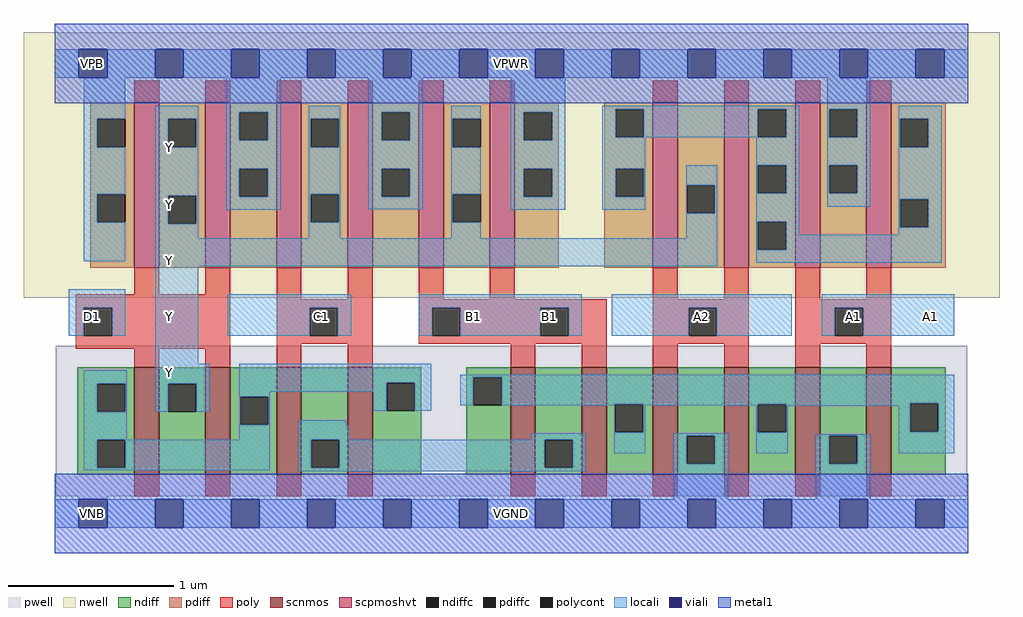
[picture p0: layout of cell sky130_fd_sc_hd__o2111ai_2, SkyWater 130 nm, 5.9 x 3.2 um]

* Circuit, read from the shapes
.subckt sky130_fd_sc_hd__o2111ai_2 A1 A2 B1 C1 D1 VGND VNB VPB VPWR Y
XM1 Y D1 n1 VNB sky130_fd_pr__nfet_01v8 w=0.65 l=0.15 m=2
XM2 n2 C1 n1 VNB sky130_fd_pr__nfet_01v8 w=0.65 l=0.15 m=2
XM3 n2 B1 n3 VNB sky130_fd_pr__nfet_01v8 w=0.65 l=0.15 m=2
XM4 VGND A2 n3 VNB sky130_fd_pr__nfet_01v8 w=0.65 l=0.15 m=2
XM5 VGND A1 n3 VNB sky130_fd_pr__nfet_01v8 w=0.65 l=0.15 m=2
XM6 Y D1 VPWR VPB sky130_fd_pr__pfet_01v8_hvt w=1 l=0.15 m=2
XM7 Y C1 VPWR VPB sky130_fd_pr__pfet_01v8_hvt w=1 l=0.15 m=2
XM8 Y B1 VPWR VPB sky130_fd_pr__pfet_01v8_hvt w=1 l=0.15 m=2
XM9 Y A2 n4 VPB sky130_fd_pr__pfet_01v8_hvt w=1 l=0.15 m=2
XM10 VPWR A1 n4 VPB sky130_fd_pr__pfet_01v8_hvt w=1 l=0.15 m=2
.ends

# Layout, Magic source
magic
tech sky130B
magscale 1 2
<< nwell >>
rect -38 261 1142 582
<< pwell >>
rect 1 21 1103 203
rect 29 -17 63 21
<< scnmos >>
rect 96 47 126 177
rect 182 47 212 177
rect 268 47 298 177
rect 354 47 384 177
rect 551 47 581 177
rect 637 47 667 177
rect 723 47 753 177
rect 809 47 839 177
rect 895 47 925 177
rect 981 47 1011 177
<< scpmoshvt >>
rect 96 297 126 497
rect 182 297 212 497
rect 268 297 298 497
rect 354 297 384 497
rect 440 297 470 497
rect 526 297 556 497
rect 723 297 753 497
rect 809 297 839 497
rect 895 297 925 497
rect 981 297 1011 497
<< ndiff >>
rect 27 157 96 177
rect 27 123 51 157
rect 85 123 96 157
rect 27 89 96 123
rect 27 55 51 89
rect 85 55 96 89
rect 27 47 96 55
rect 126 157 182 177
rect 126 123 137 157
rect 171 123 182 157
rect 126 47 182 123
rect 212 141 268 177
rect 212 107 224 141
rect 258 107 268 141
rect 212 47 268 107
rect 298 89 354 177
rect 298 55 310 89
rect 344 55 354 89
rect 298 47 354 55
rect 384 158 443 177
rect 384 124 401 158
rect 435 124 443 158
rect 384 47 443 124
rect 497 165 551 177
rect 497 131 506 165
rect 540 131 551 165
rect 497 47 551 131
rect 581 89 637 177
rect 581 55 592 89
rect 626 55 637 89
rect 581 47 637 55
rect 667 132 723 177
rect 667 98 677 132
rect 711 98 723 132
rect 667 47 723 98
rect 753 94 809 177
rect 753 60 764 94
rect 798 60 809 94
rect 753 47 809 60
rect 839 132 895 177
rect 839 98 850 132
rect 884 98 895 132
rect 839 47 895 98
rect 925 94 981 177
rect 925 60 936 94
rect 970 60 981 94
rect 925 47 981 60
rect 1011 133 1077 177
rect 1011 99 1034 133
rect 1068 99 1077 133
rect 1011 47 1077 99
<< pdiff >>
rect 43 477 96 497
rect 43 443 51 477
rect 85 443 96 477
rect 43 386 96 443
rect 43 352 51 386
rect 85 352 96 386
rect 43 297 96 352
rect 126 477 182 497
rect 126 443 137 477
rect 171 443 182 477
rect 126 384 182 443
rect 126 350 137 384
rect 171 350 182 384
rect 126 297 182 350
rect 212 485 268 497
rect 212 451 223 485
rect 257 451 268 485
rect 212 417 268 451
rect 212 383 223 417
rect 257 383 268 417
rect 212 297 268 383
rect 298 477 354 497
rect 298 443 309 477
rect 343 443 354 477
rect 298 386 354 443
rect 298 352 309 386
rect 343 352 354 386
rect 298 297 354 352
rect 384 485 440 497
rect 384 451 395 485
rect 429 451 440 485
rect 384 417 440 451
rect 384 383 395 417
rect 429 383 440 417
rect 384 297 440 383
rect 470 477 526 497
rect 470 443 481 477
rect 515 443 526 477
rect 470 386 526 443
rect 470 352 481 386
rect 515 352 526 386
rect 470 297 526 352
rect 556 485 609 497
rect 556 451 567 485
rect 601 451 609 485
rect 556 417 609 451
rect 556 383 567 417
rect 601 383 609 417
rect 556 297 609 383
rect 664 489 723 497
rect 664 455 678 489
rect 712 455 723 489
rect 664 417 723 455
rect 664 383 678 417
rect 712 383 723 417
rect 664 297 723 383
rect 753 397 809 497
rect 753 363 764 397
rect 798 363 809 397
rect 753 297 809 363
rect 839 489 895 497
rect 839 455 850 489
rect 884 455 895 489
rect 839 421 895 455
rect 839 387 850 421
rect 884 387 895 421
rect 839 353 895 387
rect 839 319 850 353
rect 884 319 895 353
rect 839 297 895 319
rect 925 489 981 497
rect 925 455 936 489
rect 970 455 981 489
rect 925 421 981 455
rect 925 387 936 421
rect 970 387 981 421
rect 925 297 981 387
rect 1011 477 1077 497
rect 1011 443 1022 477
rect 1056 443 1077 477
rect 1011 380 1077 443
rect 1011 346 1022 380
rect 1056 346 1077 380
rect 1011 297 1077 346
<< ndiffc >>
rect 51 123 85 157
rect 51 55 85 89
rect 137 123 171 157
rect 224 107 258 141
rect 310 55 344 89
rect 401 124 435 158
rect 506 131 540 165
rect 592 55 626 89
rect 677 98 711 132
rect 764 60 798 94
rect 850 98 884 132
rect 936 60 970 94
rect 1034 99 1068 133
<< pdiffc >>
rect 51 443 85 477
rect 51 352 85 386
rect 137 443 171 477
rect 137 350 171 384
rect 223 451 257 485
rect 223 383 257 417
rect 309 443 343 477
rect 309 352 343 386
rect 395 451 429 485
rect 395 383 429 417
rect 481 443 515 477
rect 481 352 515 386
rect 567 451 601 485
rect 567 383 601 417
rect 678 455 712 489
rect 678 383 712 417
rect 764 363 798 397
rect 850 455 884 489
rect 850 387 884 421
rect 850 319 884 353
rect 936 455 970 489
rect 936 387 970 421
rect 1022 443 1056 477
rect 1022 346 1056 380
<< poly >>
rect 96 497 126 523
rect 182 497 212 523
rect 268 497 298 523
rect 354 497 384 523
rect 440 497 470 523
rect 526 497 556 523
rect 723 497 753 523
rect 809 497 839 523
rect 895 497 925 523
rect 981 497 1011 523
rect 96 265 126 297
rect 182 265 212 297
rect 25 249 212 265
rect 25 215 35 249
rect 69 215 212 249
rect 25 199 212 215
rect 96 177 126 199
rect 182 177 212 199
rect 268 259 298 297
rect 354 259 384 297
rect 268 249 384 259
rect 268 215 308 249
rect 342 215 384 249
rect 268 205 384 215
rect 440 259 470 297
rect 526 259 556 297
rect 723 259 753 297
rect 809 259 839 297
rect 440 249 667 259
rect 440 215 456 249
rect 490 215 587 249
rect 621 215 667 249
rect 440 205 667 215
rect 268 177 298 205
rect 354 177 384 205
rect 551 177 581 205
rect 637 177 667 205
rect 723 249 839 259
rect 723 215 766 249
rect 800 215 839 249
rect 723 205 839 215
rect 723 177 753 205
rect 809 177 839 205
rect 895 259 925 297
rect 981 259 1011 297
rect 895 249 1011 259
rect 895 215 943 249
rect 977 215 1011 249
rect 895 205 1011 215
rect 895 177 925 205
rect 981 177 1011 205
rect 96 21 126 47
rect 182 21 212 47
rect 268 21 298 47
rect 354 21 384 47
rect 551 21 581 47
rect 637 21 667 47
rect 723 21 753 47
rect 809 21 839 47
rect 895 21 925 47
rect 981 21 1011 47
<< polycont >>
rect 35 215 69 249
rect 308 215 342 249
rect 456 215 490 249
rect 587 215 621 249
rect 766 215 800 249
rect 943 215 977 249
<< locali >>
rect 0 527 29 561
rect 63 527 121 561
rect 155 527 213 561
rect 247 527 305 561
rect 339 527 397 561
rect 431 527 489 561
rect 523 527 581 561
rect 615 527 673 561
rect 707 527 765 561
rect 799 527 857 561
rect 891 527 949 561
rect 983 527 1041 561
rect 1075 527 1104 561
rect 35 477 85 527
rect 35 443 51 477
rect 35 386 85 443
rect 35 352 51 386
rect 35 305 85 352
rect 121 477 173 493
rect 121 443 137 477
rect 171 443 173 477
rect 121 384 173 443
rect 121 350 137 384
rect 171 350 173 384
rect 207 485 273 527
rect 207 451 223 485
rect 257 451 273 485
rect 207 417 273 451
rect 207 383 223 417
rect 257 383 273 417
rect 207 367 273 383
rect 307 477 345 493
rect 307 443 309 477
rect 343 443 345 477
rect 307 386 345 443
rect 121 333 173 350
rect 307 352 309 386
rect 343 352 345 386
rect 379 485 445 527
rect 379 451 395 485
rect 429 451 445 485
rect 379 417 445 451
rect 379 383 395 417
rect 429 383 445 417
rect 379 368 445 383
rect 479 477 515 493
rect 479 443 481 477
rect 479 386 515 443
rect 307 333 345 352
rect 479 352 481 386
rect 551 485 617 527
rect 551 451 567 485
rect 601 451 617 485
rect 551 417 617 451
rect 551 383 567 417
rect 601 383 617 417
rect 551 367 617 383
rect 662 489 900 493
rect 662 455 678 489
rect 712 455 850 489
rect 884 455 900 489
rect 662 417 714 455
rect 848 421 900 455
rect 662 383 678 417
rect 712 383 714 417
rect 662 367 714 383
rect 763 397 801 421
rect 479 333 515 352
rect 763 363 764 397
rect 798 363 801 397
rect 763 333 801 363
rect 121 299 801 333
rect 848 387 850 421
rect 884 387 900 421
rect 848 353 900 387
rect 934 489 986 527
rect 934 455 936 489
rect 970 455 986 489
rect 934 421 986 455
rect 934 387 936 421
rect 970 387 986 421
rect 934 371 986 387
rect 1020 477 1072 493
rect 1020 443 1022 477
rect 1056 443 1072 477
rect 1020 380 1072 443
rect 848 319 850 353
rect 884 337 900 353
rect 1020 346 1022 380
rect 1056 346 1072 380
rect 1020 337 1072 346
rect 884 319 1072 337
rect 848 303 1072 319
rect 17 249 85 271
rect 17 215 35 249
rect 69 215 85 249
rect 121 181 173 299
rect 209 249 358 265
rect 209 215 308 249
rect 342 215 358 249
rect 440 249 637 265
rect 440 215 456 249
rect 490 215 587 249
rect 621 215 637 249
rect 673 249 891 265
rect 673 215 766 249
rect 800 215 891 249
rect 927 249 1087 265
rect 927 215 943 249
rect 977 215 1087 249
rect 35 157 87 173
rect 35 123 51 157
rect 85 123 87 157
rect 121 157 187 181
rect 121 123 137 157
rect 171 123 187 157
rect 223 158 455 181
rect 223 147 401 158
rect 223 141 260 147
rect 35 89 87 123
rect 223 107 224 141
rect 258 107 260 141
rect 385 124 401 147
rect 435 124 455 158
rect 490 165 1087 168
rect 490 131 506 165
rect 540 133 1087 165
rect 540 132 1034 133
rect 540 131 677 132
rect 223 89 260 107
rect 35 55 51 89
rect 85 55 260 89
rect 35 52 260 55
rect 294 106 352 113
rect 294 89 355 106
rect 676 98 677 131
rect 711 131 850 132
rect 711 98 714 131
rect 576 89 642 97
rect 294 55 310 89
rect 344 55 592 89
rect 626 55 642 89
rect 676 73 714 98
rect 848 98 850 131
rect 884 130 1034 132
rect 884 98 886 130
rect 748 94 814 97
rect 294 51 642 55
rect 748 60 764 94
rect 798 60 814 94
rect 848 73 886 98
rect 1020 99 1034 130
rect 1068 99 1087 133
rect 920 94 986 96
rect 748 17 814 60
rect 920 60 936 94
rect 970 60 986 94
rect 1020 73 1087 99
rect 920 17 986 60
rect 0 -17 29 17
rect 63 -17 121 17
rect 155 -17 213 17
rect 247 -17 305 17
rect 339 -17 397 17
rect 431 -17 489 17
rect 523 -17 581 17
rect 615 -17 673 17
rect 707 -17 765 17
rect 799 -17 857 17
rect 891 -17 949 17
rect 983 -17 1041 17
rect 1075 -17 1104 17
<< viali >>
rect 29 527 63 561
rect 121 527 155 561
rect 213 527 247 561
rect 305 527 339 561
rect 397 527 431 561
rect 489 527 523 561
rect 581 527 615 561
rect 673 527 707 561
rect 765 527 799 561
rect 857 527 891 561
rect 949 527 983 561
rect 1041 527 1075 561
rect 29 -17 63 17
rect 121 -17 155 17
rect 213 -17 247 17
rect 305 -17 339 17
rect 397 -17 431 17
rect 489 -17 523 17
rect 581 -17 615 17
rect 673 -17 707 17
rect 765 -17 799 17
rect 857 -17 891 17
rect 949 -17 983 17
rect 1041 -17 1075 17
<< metal1 >>
rect 0 561 1104 592
rect 0 527 29 561
rect 63 527 121 561
rect 155 527 213 561
rect 247 527 305 561
rect 339 527 397 561
rect 431 527 489 561
rect 523 527 581 561
rect 615 527 673 561
rect 707 527 765 561
rect 799 527 857 561
rect 891 527 949 561
rect 983 527 1041 561
rect 1075 527 1104 561
rect 0 496 1104 527
rect 0 17 1104 48
rect 0 -17 29 17
rect 63 -17 121 17
rect 155 -17 213 17
rect 247 -17 305 17
rect 339 -17 397 17
rect 431 -17 489 17
rect 523 -17 581 17
rect 615 -17 673 17
rect 707 -17 765 17
rect 799 -17 857 17
rect 891 -17 949 17
rect 983 -17 1041 17
rect 1075 -17 1104 17
rect 0 -48 1104 -17
<< labels >>
flabel locali s 1041 221 1075 255 0 FreeSans 400 0 0 0 A1
port 1 nsew signal input
flabel locali s 949 221 983 255 0 FreeSans 400 0 0 0 A1
port 1 nsew signal input
flabel locali s 765 221 799 255 0 FreeSans 400 0 0 0 A2
port 2 nsew signal input
flabel locali s 581 221 615 255 0 FreeSans 400 0 0 0 B1
port 3 nsew signal input
flabel locali s 489 221 523 255 0 FreeSans 400 0 0 0 B1
port 3 nsew signal input
flabel locali s 305 221 339 255 0 FreeSans 400 0 0 0 C1
port 4 nsew signal input
flabel locali s 29 221 63 255 0 FreeSans 400 0 0 0 D1
port 5 nsew signal input
flabel locali s 121 289 155 323 0 FreeSans 400 0 0 0 Y
port 10 nsew signal output
flabel locali s 121 221 155 255 0 FreeSans 400 0 0 0 Y
port 10 nsew signal output
flabel locali s 121 153 155 187 0 FreeSans 400 0 0 0 Y
port 10 nsew signal output
flabel locali s 121 425 155 459 0 FreeSans 400 0 0 0 Y
port 10 nsew signal output
flabel locali s 121 357 155 391 0 FreeSans 400 0 0 0 Y
port 10 nsew signal output
flabel pwell s 29 -17 63 17 0 FreeSans 200 0 0 0 VNB
port 7 nsew ground bidirectional
flabel nwell s 29 527 63 561 0 FreeSans 200 0 0 0 VPB
port 8 nsew power bidirectional
flabel metal1 s 29 527 63 561 0 FreeSans 200 0 0 0 VPWR
port 9 nsew power bidirectional abutment
flabel metal1 s 29 -17 63 17 0 FreeSans 200 0 0 0 VGND
port 6 nsew ground bidirectional abutment
rlabel comment s 0 0 0 0 4 o2111ai_2
rlabel metal1 s 0 -48 1104 48 1 VGND
port 6 nsew ground bidirectional abutment
rlabel metal1 s 0 496 1104 592 1 VPWR
port 9 nsew power bidirectional abutment
<< properties >>
string FIXED_BBOX 0 0 1104 544
string GDS_END 960620
string GDS_FILE $PDKPATH/libs.ref/sky130_fd_sc_hd/gds/sky130_fd_sc_hd.gds
string GDS_START 951156
string LEFclass CORE
string LEFsite unithd
string LEFsymmetry X Y R90
string path 0.000 0.000 5.520 0.000 
<< end >>
